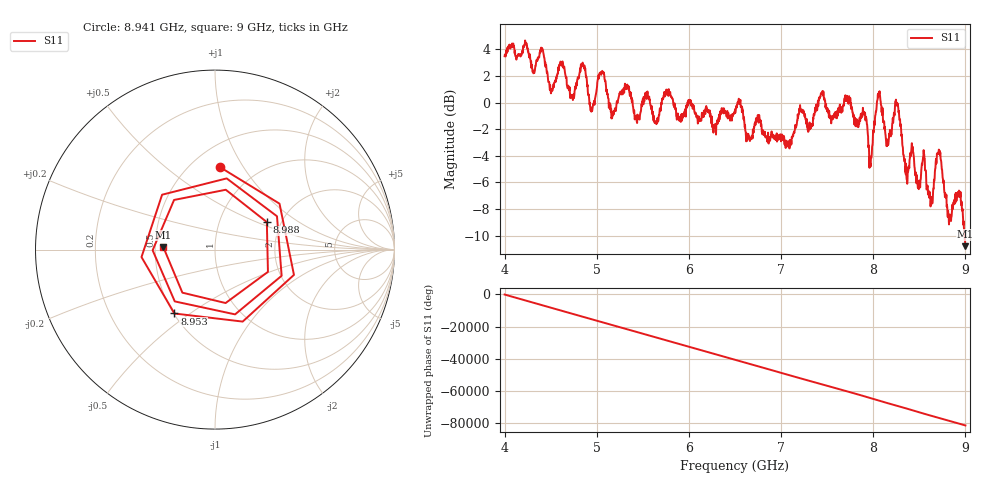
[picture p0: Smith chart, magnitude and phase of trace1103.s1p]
! Created with skrf 1.8.0 (http://scikit-rf.org).
# Hz S RI R 50.0
!freq ReS11 ImS11
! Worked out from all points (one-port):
!   1601 points, 4 GHz to 9 GHz, reference 50 ohm
!   lowest |S11| = -10.8 dB at 9 GHz (marker M1), VSWR 1.81, Z = 27.6 + j0.927 ohm
!   |S11| at or under -10 dB: 8.991678 GHz to end of sweep
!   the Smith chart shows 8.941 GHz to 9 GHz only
!   S11 on the Smith chart (normalised r, x): 8.941 GHz: 0.68, +0.79; 8.953 GHz: 0.50, -0.44; 8.988 GHz: 1.69, +0.58; 9 GHz: 0.55, +0.02
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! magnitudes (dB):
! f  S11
! 4 GHz  3.5
! 4.406 GHz  4.1
! 4.509 GHz  1.0
! 4.625 GHz  2.8
! 4.734 GHz  0.5
! 4.853 GHz  2.8
! 4.944 GHz  -0.6
! 5.05 GHz  2.3
! 5.159 GHz  -1.2
! 5.25 GHz  0.6
! 5.875 GHz  -0.8
! 6.5 GHz  -0.5
! 7.125 GHz  -2.5
! 7.438 GHz  0.6
! 7.75 GHz  0.4
! 7.969 GHz  -4.6
! 8.056 GHz  0.7
! 8.153 GHz  -3.2
! 8.259 GHz  -0.1
! 8.375 GHz  -4.9
! 8.547 GHz  -3.6
! 8.622 GHz  -7.8
! 8.716 GHz  -3.8
! 8.825 GHz  -8.8
! 8.941 GHz  -6.7
! 8.953 GHz  -7.5
! 8.988 GHz  -9.7
! 9 GHz  -10.8
